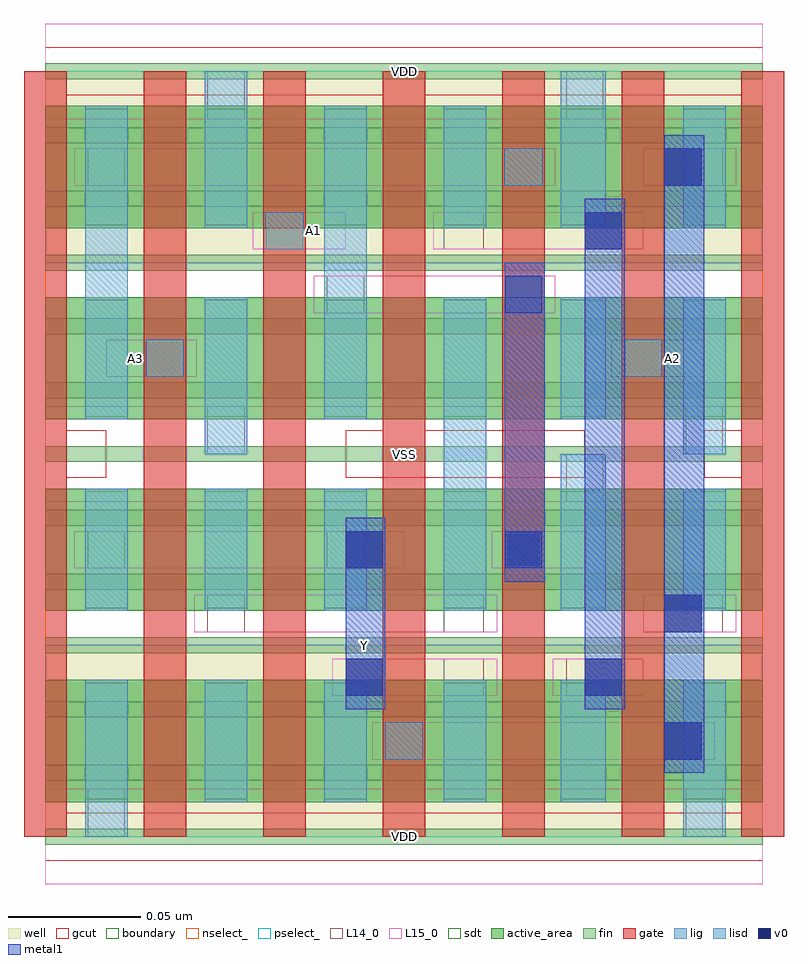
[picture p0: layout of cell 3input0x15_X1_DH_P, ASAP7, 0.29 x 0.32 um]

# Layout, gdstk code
import gdstk
lib = gdstk.Library(unit=1e-6, precision=1e-09)
def R(c, l, rs):  # rectangles x0, y0, x1, y1
    for r in rs: c.add(gdstk.rectangle(r[:2], r[2:], *l))
def A(c, l, x, y, w, h, nx, ny, dx, dy):  # array of equal rectangles
    R(c, l, [(x+i*dx, y+j*dy, x+i*dx+w, y+j*dy+h) for i in range(nx) for j in range(ny)])
def P(c, l, *ps):  # polygons
    for p in ps: c.add(gdstk.Polygon(p, *l))
well = (1, 0)
fin = (2, 0)
gate = (7, 0)
gcut = (10, 0)
active_area = (11, 0)
nselect_ = (12, 0)
pselect_ = (13, 0)
L14_0 = (14, 0)
L15_0 = (15, 0)
lig = (16, 0)
lisd = (17, 0)
v0 = (18, 0)
metal1 = (19, 0)
sdt = (88, 0)
boundary = (100, 0)

c_3input0x15_x1_dh_p = lib.new_cell('3input0x15_X1_DH_P')
R(c_3input0x15_x1_dh_p, well, [(0,0,0.27,0.072), (0,0.216,0.27,0.288)])
A(c_3input0x15_x1_dh_p, fin, 0, -0.003, 0.27, 0.006, 1, 13, 0, 0.024)
A(c_3input0x15_x1_dh_p, gate, -0.008, 0, 0.016, 0.288, 7, 1, 0.045, 0)
P(c_3input0x15_x1_dh_p, gcut, [(0,-0.009),(0,0),(-0.008,0),(-0.008,0.279),(0.143,0.279),(0.143,0.153),(0.203,0.153),(0.203,0.135),(0.113,0.135),(0.113,0.153),(0.127,0.153),(0.127,0.279),(0.008,0.279),(0.008,0.153),(0.023,0.153),(0.023,0.135),(0.008,0.135),(0.008,0.009),(0.262,0.009),(0.262,0.135),(0.248,0.135),(0.248,0.153),(0.262,0.153),(0.262,0.279),(-0.008,0.279),(-0.008,0.288),(0,0.288),(0,0.297),(0.27,0.297),(0.27,0.288),(0.278,0.288),(0.278,0),(0.27,0),(0.27,-0.009)])
A(c_3input0x15_x1_dh_p, active_area, 0, 0.013, 0.27, 0.046, 1, 4, 0, 0.072)
R(c_3input0x15_x1_dh_p, nselect_, [(0,0.072,0.27,0.144), (0,0.144,0.27,0.216)])
R(c_3input0x15_x1_dh_p, pselect_, [(0,0,0.27,0.072), (0,0.216,0.27,0.288)])
R(c_3input0x15_x1_dh_p, L14_0, [(0.016,0,0.03,0.018), (0.241,0,0.255,0.018), (0.128,0.029,0.142,0.043), (0.15,0.053,0.165,0.067), (0.196,0.053,0.21,0.067), (0.061,0.077,0.075,0.091), (0.15,0.077,0.165,0.091), (0.241,0.077,0.255,0.091), (0.016,0.101,0.03,0.115), (0.106,0.101,0.12,0.115), (0.173,0.101,0.187,0.115), (0.196,0.126,0.21,0.144), (0.061,0.144,0.075,0.162), (0.241,0.144,0.255,0.162), (0.038,0.173,0.052,0.187), (0.218,0.173,0.232,0.187), (0.106,0.197,0.12,0.211), (0.083,0.221,0.097,0.235), (0.15,0.221,0.165,0.235), (0.016,0.245,0.03,0.259), (0.173,0.245,0.187,0.259), (0.241,0.245,0.255,0.259), (0.061,0.27,0.075,0.288), (0.196,0.27,0.21,0.288)])
A(c_3input0x15_x1_dh_p, L15_0, 0, -0.018, 0.27, 0.036, 1, 3, 0, 0.144)
R(c_3input0x15_x1_dh_p, L15_0, [(0.123,0.029,0.252,0.043), (0.108,0.053,0.17,0.067), (0.191,0.053,0.225,0.067), (0.056,0.077,0.17,0.091), (0.225,0.077,0.26,0.091), (0.011,0.101,0.135,0.115), (0.168,0.101,0.203,0.115), (0.023,0.173,0.057,0.187), (0.213,0.173,0.248,0.187), (0.101,0.197,0.192,0.211), (0.078,0.221,0.113,0.235), (0.146,0.221,0.225,0.235), (0.011,0.245,0.192,0.259), (0.225,0.245,0.26,0.259)])
R(c_3input0x15_x1_dh_p, lig, [(0.128,0.029,0.142,0.043), (0.173,0.101,0.187,0.115), (0.038,0.173,0.052,0.187), (0.218,0.173,0.232,0.187), (0.083,0.221,0.097,0.235), (0.173,0.245,0.187,0.259)])
A(c_3input0x15_x1_dh_p, lisd, 0.06, 0.013, 0.016, 0.046, 3, 1, 0.045, 0)
A(c_3input0x15_x1_dh_p, lisd, 0.015, 0.085, 0.016, 0.046, 3, 1, 0.045, 0)
R(c_3input0x15_x1_dh_p, lisd, [(0.015,0,0.031,0.059), (0.24,0,0.256,0.059), (0.194,0.013,0.211,0.059), (0.15,0.085,0.166,0.203), (0.194,0.085,0.211,0.144), (0.24,0.085,0.256,0.131), (0.06,0.144,0.076,0.203), (0.24,0.144,0.256,0.203), (0.015,0.157,0.031,0.275), (0.105,0.157,0.121,0.275), (0.194,0.157,0.211,0.203), (0.06,0.229,0.076,0.288), (0.15,0.229,0.166,0.275), (0.194,0.229,0.211,0.288), (0.24,0.229,0.256,0.275)])
R(c_3input0x15_x1_dh_p, v0, [(0.233,0.029,0.247,0.043), (0.113,0.053,0.127,0.067), (0.203,0.053,0.217,0.067), (0.233,0.077,0.247,0.091), (0.113,0.101,0.127,0.115), (0.173,0.101,0.187,0.115), (0.173,0.197,0.187,0.211), (0.203,0.221,0.217,0.235), (0.233,0.245,0.247,0.259)])
R(c_3input0x15_x1_dh_p, metal1, [(0.233,0.024,0.248,0.264), (0.113,0.048,0.128,0.12), (0.203,0.048,0.218,0.24), (0.173,0.096,0.188,0.216)])
A(c_3input0x15_x1_dh_p, sdt, 0.015, 0.014, 0.016, 0.044, 4, 4, 0.045, 0.072)
A(c_3input0x15_x1_dh_p, sdt, 0.194, 0.014, 0.017, 0.044, 1, 4, 0, 0.072)
A(c_3input0x15_x1_dh_p, sdt, 0.24, 0.014, 0.016, 0.044, 1, 4, 0, 0.072)
R(c_3input0x15_x1_dh_p, boundary, [(0,0,0.27,0.288)])
c_3input0x15_x1_dh_p.add(gdstk.Label('VDD', (0.135,0), layer=15, texttype=251))
c_3input0x15_x1_dh_p.add(gdstk.Label('VSS', (0.135,0.144), layer=15, texttype=251))
c_3input0x15_x1_dh_p.add(gdstk.Label('VSS', (0.135,0.144), layer=15, texttype=251))
c_3input0x15_x1_dh_p.add(gdstk.Label('VDD', (0.135,0.288), layer=15, texttype=251))
c_3input0x15_x1_dh_p.add(gdstk.Label('A3', (0.034,0.18), layer=15, texttype=251))
c_3input0x15_x1_dh_p.add(gdstk.Label('VDD', (0.135,0), layer=15, texttype=251))
c_3input0x15_x1_dh_p.add(gdstk.Label('VSS', (0.135,0.144), layer=15, texttype=251))
c_3input0x15_x1_dh_p.add(gdstk.Label('VSS', (0.135,0.144), layer=15, texttype=251))
c_3input0x15_x1_dh_p.add(gdstk.Label('VDD', (0.135,0.288), layer=15, texttype=251))
c_3input0x15_x1_dh_p.add(gdstk.Label('A1', (0.101,0.228), layer=15, texttype=251))
c_3input0x15_x1_dh_p.add(gdstk.Label('VDD', (0.135,0), layer=15, texttype=251))
c_3input0x15_x1_dh_p.add(gdstk.Label('VSS', (0.135,0.144), layer=15, texttype=251))
c_3input0x15_x1_dh_p.add(gdstk.Label('VSS', (0.135,0.144), layer=15, texttype=251))
c_3input0x15_x1_dh_p.add(gdstk.Label('VDD', (0.135,0.288), layer=15, texttype=251))
c_3input0x15_x1_dh_p.add(gdstk.Label('A2', (0.236,0.18), layer=15, texttype=251))
c_3input0x15_x1_dh_p.add(gdstk.Label('VDD', (0.135,0), layer=15, texttype=251))
c_3input0x15_x1_dh_p.add(gdstk.Label('VSS', (0.135,0.144), layer=15, texttype=251))
c_3input0x15_x1_dh_p.add(gdstk.Label('VSS', (0.135,0.144), layer=15, texttype=251))
c_3input0x15_x1_dh_p.add(gdstk.Label('VDD', (0.135,0.288), layer=15, texttype=251))
c_3input0x15_x1_dh_p.add(gdstk.Label('VSS', (0.135,0.144), layer=3, texttype=251))
c_3input0x15_x1_dh_p.add(gdstk.Label('VSS', (0.135,0.144), layer=3, texttype=251))
c_3input0x15_x1_dh_p.add(gdstk.Label('VSS', (0.135,0.144), layer=3, texttype=251))
c_3input0x15_x1_dh_p.add(gdstk.Label('VSS', (0.135,0.144), layer=3, texttype=251))
c_3input0x15_x1_dh_p.add(gdstk.Label('VSS', (0.135,0.144), layer=3, texttype=251))
c_3input0x15_x1_dh_p.add(gdstk.Label('VSS', (0.135,0.144), layer=3, texttype=251))
c_3input0x15_x1_dh_p.add(gdstk.Label('VSS', (0.135,0.144), layer=3, texttype=251))
c_3input0x15_x1_dh_p.add(gdstk.Label('VSS', (0.135,0.144), layer=3, texttype=251))
c_3input0x15_x1_dh_p.add(gdstk.Label('VDD', (0.135,0), layer=1, texttype=251))
c_3input0x15_x1_dh_p.add(gdstk.Label('VDD', (0.135,0.288), layer=1, texttype=251))
c_3input0x15_x1_dh_p.add(gdstk.Label('VDD', (0.135,0), layer=1, texttype=251))
c_3input0x15_x1_dh_p.add(gdstk.Label('VDD', (0.135,0.288), layer=1, texttype=251))
c_3input0x15_x1_dh_p.add(gdstk.Label('VDD', (0.135,0), layer=1, texttype=251))
c_3input0x15_x1_dh_p.add(gdstk.Label('VDD', (0.135,0.288), layer=1, texttype=251))
c_3input0x15_x1_dh_p.add(gdstk.Label('VDD', (0.135,0), layer=1, texttype=251))
c_3input0x15_x1_dh_p.add(gdstk.Label('VDD', (0.135,0.288), layer=1, texttype=251))
c_3input0x15_x1_dh_p.add(gdstk.Label('Y', (0.12,0.072), layer=19, texttype=251))

lib.write_gds('3input0x15_X1_DH_P.gds')
